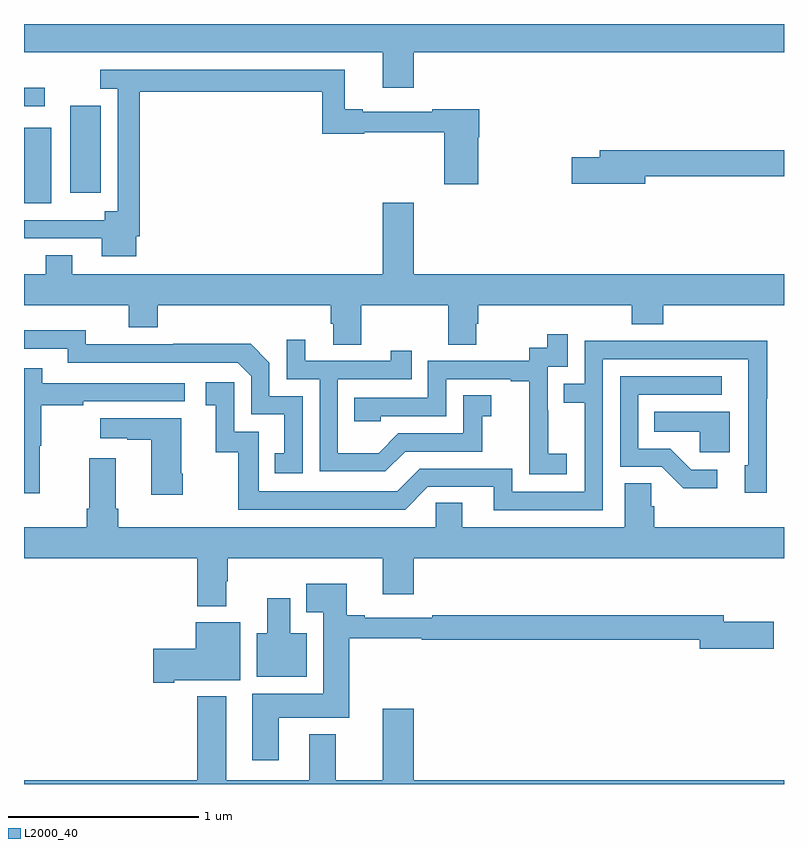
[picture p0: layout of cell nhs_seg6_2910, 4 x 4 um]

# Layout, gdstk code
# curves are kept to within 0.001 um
import gdstk
lib = gdstk.Library(unit=1e-6, precision=1e-09)
def R(c, l, rs):  # rectangles x0, y0, x1, y1
    for r in rs: c.add(gdstk.rectangle(r[:2], r[2:], *l))
def P(c, l, *ps):  # polygons
    for p in ps: c.add(gdstk.Polygon(p, *l))
L2000_40 = (2000, 40)

nhs_seg6_2910 = lib.new_cell('nhs_seg6_2910')
R(nhs_seg6_2910, L2000_40, [(283,930.557,283.144,930.955), (283.244,930.612,283.405,931.069), (283,931.068,283.108,931.164)])
P(nhs_seg6_2910, L2000_40, [(285.052,931.352),(287,931.352),(287,931.5),(283,931.5),(283,931.352),(284.888,931.352),(284.888,931.164),(285.052,931.164)],
  [(283.591,930.382),(283.61,930.382),(283.61,931.144),(284.569,931.144),(284.569,930.922),(284.792,930.922),(284.792,930.93),(285.212,930.93),(285.212,930.657),(285.39,930.657),(285.39,930.905),(285.395,930.905),(285.395,931.051),(285.148,931.051),(285.148,931.038),(284.782,931.038),(284.782,931.051),(284.687,931.051),(284.687,931.26),(283.401,931.26),(283.401,931.16),(283.494,931.16),(283.494,930.514),(283.424,930.514),(283.424,930.468),(283,930.468),(283,930.372),(283.409,930.372),(283.409,930.278),(283.591,930.278)],
  [(286.27,930.7),(287,930.7),(287,930.836),(286.031,930.836),(286.031,930.8),(285.882,930.8),(285.882,930.658),(286.27,930.658)],
  [(284.775,930.02),(285.232,930.02),(285.232,929.812),(285.379,929.812),(285.379,929.922),(285.392,929.922),(285.392,930.02),(286.199,930.02),(286.199,929.921),(286.364,929.921),(286.364,930.02),(287,930.02),(287,930.184),(285.052,930.184),(285.052,930.559),(284.888,930.559),(284.888,930.184),(283.255,930.184),(283.255,930.283),(283.115,930.283),(283.115,930.184),(283,930.184),(283,930.02),(283.55,930.02),(283.55,929.903),(283.703,929.903),(283.703,930.02),(284.615,930.02),(284.615,929.922),(284.627,929.922),(284.627,929.812),(284.775,929.812)],
  [(284.466,929.541),(284.292,929.541),(284.292,929.718),(284.194,929.816),(283.786,929.816),(283.786,929.814),(283.326,929.814),(283.326,929.887),(283,929.887),(283,929.79),(283.23,929.79),(283.23,929.718),(284.124,929.718),(284.196,929.646),(284.196,929.445),(284.369,929.445),(284.369,929.241),(284.32,929.241),(284.32,929.136),(284.466,929.136)],
  [(285.856,929.239),(285.758,929.239),(285.758,929.468),(285.756,929.468),(285.756,929.697),(285.861,929.697),(285.861,929.866),(285.753,929.866),(285.753,929.796),(285.66,929.796),(285.66,929.727),(285.126,929.727),(285.126,929.532),(284.737,929.532),(284.737,929.409),(284.877,929.409),(284.877,929.436),(285.222,929.436),(285.222,929.631),(285.563,929.631),(285.563,929.619),(285.659,929.619),(285.659,929.335),(285.658,929.335),(285.658,929.129),(285.856,929.129)],
  [(285.007,929.25),(285.411,929.25),(285.411,929.435),(285.46,929.435),(285.46,929.545),(285.312,929.545),(285.312,929.346),(284.97,929.346),(284.866,929.242),(284.652,929.242),(284.652,929.631),(285.041,929.631),(285.041,929.779),(284.93,929.779),(284.93,929.727),(284.479,929.727),(284.479,929.839),(284.382,929.839),(284.382,929.631),(284.556,929.631),(284.556,929.145),(284.902,929.145)],
  [(286.047,929.736),(286.811,929.736),(286.812,929.178),(286.793,929.178),(286.793,929.034),(286.908,929.034),(286.908,929.527),(286.911,929.527),(286.911,929.834),(286.447,929.834),(286.447,929.832),(285.951,929.832),(285.951,929.607),(285.841,929.607),(285.841,929.506),(285.951,929.506),(285.951,929.037),(285.57,929.037),(285.57,929.16),(285.084,929.16),(284.964,929.04),(284.235,929.04),(284.235,929.355),(284.106,929.355),(284.106,929.614),(283.956,929.614),(283.956,929.493),(284.009,929.493),(284.009,929.247),(284.127,929.247),(284.127,928.944),(285.006,928.944),(285.126,929.064),(285.473,929.064),(285.473,928.941),(286.047,928.941)],
  [(283.082,929.28),(283.09,929.28),(283.09,929.494),(283.313,929.494),(283.313,929.514),(283.846,929.514),(283.846,929.61),(283.097,929.61),(283.097,929.689),(283,929.689),(283,929.031),(283.082,929.031)],
  [(286.648,929.154),(286.513,929.154),(286.402,929.265),(286.233,929.265),(286.233,929.55),(286.672,929.55),(286.672,929.646),(286.137,929.646),(286.137,929.169),(286.356,929.169),(286.469,929.057),(286.648,929.057)],
  [(286.714,929.458),(286.318,929.458),(286.318,929.354),(286.557,929.354),(286.557,929.246),(286.714,929.246)],
  [(283.836,929.134),(283.828,929.134),(283.828,929.425),(283.401,929.425),(283.401,929.321),(283.544,929.321),(283.544,929.311),(283.67,929.311),(283.67,929.022),(283.836,929.022)],
  [(284.065,928.568),(284.073,928.568),(284.073,928.688),(284.888,928.688),(284.888,928.5),(285.052,928.5),(285.052,928.688),(287,928.688),(287,928.852),(286.316,928.852),(286.316,928.961),(286.302,928.961),(286.302,929.084),(286.163,929.084),(286.163,928.852),(285.307,928.852),(285.307,928.979),(285.168,928.979),(285.168,928.852),(283.496,928.852),(283.496,928.948),(283.483,928.948),(283.483,929.215),(283.343,929.215),(283.343,928.948),(283.331,928.948),(283.331,928.852),(283,928.852),(283,928.688),(283.913,928.688),(283.913,928.436),(284.065,928.436)],
  [(284.341,927.848),(284.711,927.848),(284.711,928.266),(285.094,928.266),(285.094,928.258),(286.556,928.258),(286.556,928.211),(286.945,928.211),(286.945,928.353),(286.684,928.353),(286.684,928.387),(285.148,928.387),(285.148,928.374),(284.794,928.374),(284.794,928.387),(284.698,928.387),(284.698,928.555),(284.486,928.555),(284.486,928.403),(284.576,928.403),(284.576,927.976),(284.201,927.976),(284.201,927.624),(284.341,927.624)],
  [(284.488,928.294),(284.401,928.294),(284.401,928.477),(284.279,928.477),(284.279,928.294),(284.225,928.294),(284.225,928.064),(284.488,928.064)],
  [(283.792,928.046),(284.137,928.046),(284.137,928.351),(283.904,928.351),(283.904,928.212),(283.68,928.212),(283.68,928.034),(283.792,928.034)],
  [(287,927.52),(285.052,927.52),(285.052,927.895),(284.888,927.895),(284.888,927.52),(284.641,927.52),(284.641,927.763),(284.501,927.763),(284.501,927.52),(284.065,927.52),(284.065,927.961),(283.913,927.961),(283.913,927.52),(283,927.52),(283,927.5),(287,927.5)])

lib.write_gds('nhs_seg6_2910.gds')
